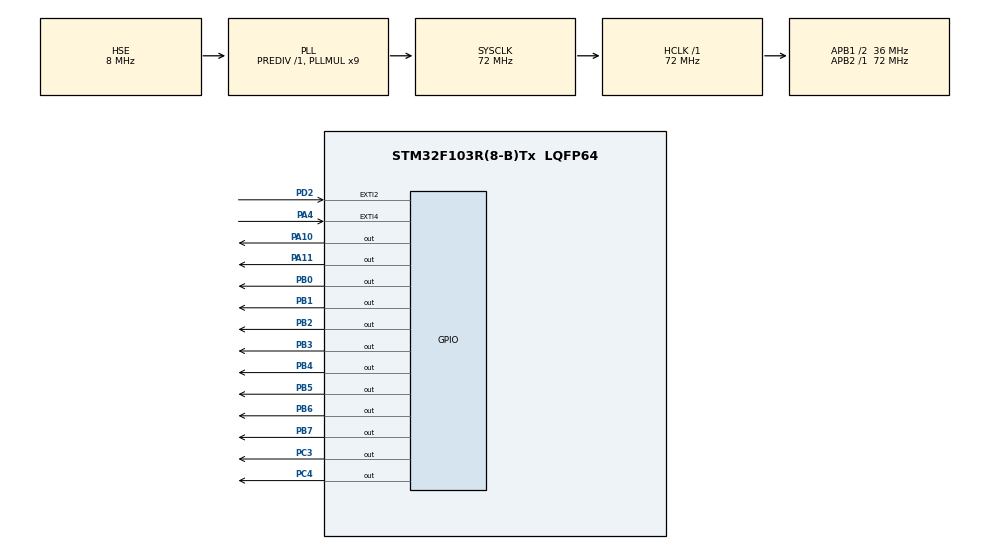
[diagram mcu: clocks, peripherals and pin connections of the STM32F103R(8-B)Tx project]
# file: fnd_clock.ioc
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Mcu.Family=STM32F1
Mcu.Name=STM32F103R(8-B)Tx
Mcu.Package=LQFP64
NVIC.EXTI2_IRQn=true\:0\:0\:false\:false\:true\:true\:true\:true
NVIC.EXTI4_IRQn=true\:0\:0\:false\:false\:true\:true\:true\:true
NVIC.PriorityGroup=NVIC_PRIORITYGROUP_4
NVIC.RCC_IRQn=true\:0\:0\:false\:false\:true\:true\:false\:true
PA10.Signal=GPIO_Output
PA11.Signal=GPIO_Output
PA13.Mode=Serial_Wire
PA13.Signal=SYS_JTMS-SWDIO
PA14.Mode=Serial_Wire
PA14.Signal=SYS_JTCK-SWCLK
PA4.GPIO_ModeDefaultEXTI=GPIO_MODE_IT_FALLING
PA4.Signal=GPXTI4
PB0.Signal=GPIO_Output
PB1.Signal=GPIO_Output
PB2.Signal=GPIO_Output
PB3.Signal=GPIO_Output
PB4.Signal=GPIO_Output
PB5.Signal=GPIO_Output
PB6.Signal=GPIO_Output
PB7.Signal=GPIO_Output
PC14-OSC32_IN.Mode=LSE-External-Oscillator
PC14-OSC32_IN.Signal=RCC_OSC32_IN
PC15-OSC32_OUT.Mode=LSE-External-Oscillator
PC15-OSC32_OUT.Signal=RCC_OSC32_OUT
PC3.Signal=GPIO_Output
PC4.Signal=GPIO_Output
PD0-OSC_IN.Mode=HSE-External-Clock-Source
PD0-OSC_IN.Signal=RCC_OSC_IN
PD1-OSC_OUT.Mode=HSE-External-Clock-Source
PD1-OSC_OUT.Signal=RCC_OSC_OUT
PD2.GPIO_ModeDefaultEXTI=GPIO_MODE_IT_FALLING
PD2.Signal=GPXTI2
ProjectManager.HeapSize=0x200
ProjectManager.StackSize=0x400
ProjectManager.TargetToolchain=STM32CubeIDE
RCC.AHBFreq_Value=72000000
RCC.APB1CLKDivider=RCC_HCLK_DIV2
RCC.APB1Freq_Value=36000000
RCC.APB1TimFreq_Value=72000000
RCC.APB2Freq_Value=72000000
RCC.APB2TimFreq_Value=72000000
RCC.HCLKFreq_Value=72000000
RCC.PLLMUL=RCC_PLL_MUL9
RCC.PLLSourceVirtual=RCC_PLLSOURCE_HSE
RCC.SYSCLKFreq_VALUE=72000000
RCC.SYSCLKSource=RCC_SYSCLKSOURCE_PLLCLK
RCC.USBFreq_Value=72000000
board=custom

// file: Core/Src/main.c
/* USER CODE BEGIN Header */
/**
  ******************************************************************************
  * @file           : main.c
  * @brief          : Main program body
  ******************************************************************************
  * @attention
  *
  * Copyright (c) 2023 STMicroelectronics.
  * All rights reserved.
  *
  * This software is licensed under terms that can be found in the LICENSE file
  * in the root directory of this software component.
  * If no LICENSE file comes with this software, it is provided AS-IS.
  *
  ******************************************************************************
  */
/* USER CODE END Header */
#include "main.h"

/* USER CODE BEGIN PV */
uint8_t number[] = {0x3f, 0x06, 0x5b, 0x4f, 0x66,0x6d, 0x7d, 0x07, 0x7f, 0x67};
uint32_t cur_tick = 0, pre_tick = 0;
uint32_t h = 23;
uint8_t m = 59;
/* USER CODE END PV */

void SystemClock_Config(void);
static void MX_GPIO_Init(void);

/* USER CODE BEGIN 0 */
typedef struct fnd { 	// 구조체
  GPIO_TypeDef *port;
  uint16_t pin;
} FND;
FND value[8] = {
  {GPIOB, GPIO_PIN_0}, {GPIOB, GPIO_PIN_1},
  {GPIOB, GPIO_PIN_2}, {GPIOB, GPIO_PIN_3},
  {GPIOB, GPIO_PIN_4}, {GPIOB, GPIO_PIN_5},
  {GPIOB, GPIO_PIN_6}, {GPIOB, GPIO_PIN_7}
};
FND sel[4] = {
  {GPIOA, GPIO_PIN_10}, {GPIOA, GPIO_PIN_11},
  {GPIOC, GPIO_PIN_4}, {GPIOC, GPIO_PIN_3}
};
void display_fnd(uint8_t data, uint8_t position, uint32_t time) {  // 함수
  int i;
  for (i = 0; i < 4; i++) {
    if(i == position)
      HAL_GPIO_WritePin(sel[i].port, sel[i].pin, 1);
    else
      HAL_GPIO_WritePin(sel[i].port, sel[i].pin, 0);
  }
  for(i = 0; i < 8; i++) {
    if((data & (1 << i)) != 0)
      HAL_GPIO_WritePin(value[i].port, value[i].pin, 1);
    else
      HAL_GPIO_WritePin(value[i].port, value[i].pin, 0);
  }
  HAL_Delay(time);
}

/* USER CODE END 0 */

int main(void)
{
  /* USER CODE BEGIN 1 */
	int a;
	int b;
	int c;
	int d;
  /* USER CODE END 1 */

  /* MCU Configuration--------------------------------------------------------*/

  /* Reset of all peripherals, Initializes the Flash interface and the Systick. */
  HAL_Init();

  /* Configure the system clock */
  SystemClock_Config();

  /* Initialize all configured peripherals */
  MX_GPIO_Init();

  /* Infinite loop */
  /* USER CODE BEGIN WHILE */
  while (1)
  {
	  cur_tick = HAL_GetTick();
	  	  if(cur_tick - pre_tick >= 1000){
	  		  pre_tick = cur_tick;
	  		  if(m == 0){
	  			  if(h != 0){
	  				  h--;
	  				  m = 59;
	  			  }
	  		  }else{
	  			  m--;
	  		  }
	  		  if(h == 0){
	  			  h = 23;
	  		  }
	  	  }
	  	  a = m/10;
	  	  b = m%10;
	  	  c = h/10;
	  	  d = h%10;
	  	  display_fnd(number[c], 3, 5);
	  	  display_fnd(number[d]|0x80, 2, 5);
	  	  display_fnd(number[a], 1, 5);
	  	  display_fnd(number[b], 0, 5);
    /* USER CODE END WHILE */

  }
}

void SystemClock_Config(void)
{
  RCC_OscInitTypeDef RCC_OscInitStruct = {0};
  RCC_ClkInitTypeDef RCC_ClkInitStruct = {0};

  /** Initializes the RCC Oscillators according to the specified parameters
  * in the RCC_OscInitTypeDef structure.
  */
  RCC_OscInitStruct.OscillatorType = RCC_OSCILLATORTYPE_HSE;
  RCC_OscInitStruct.HSEState = RCC_HSE_BYPASS;
  RCC_OscInitStruct.HSEPredivValue = RCC_HSE_PREDIV_DIV1;
  RCC_OscInitStruct.HSIState = RCC_HSI_ON;
  RCC_OscInitStruct.PLL.PLLState = RCC_PLL_ON;
  RCC_OscInitStruct.PLL.PLLSource = RCC_PLLSOURCE_HSE;
  RCC_OscInitStruct.PLL.PLLMUL = RCC_PLL_MUL9;
  if (HAL_RCC_OscConfig(&RCC_OscInitStruct) != HAL_OK)
  {
    Error_Handler();
  }

  /** Initializes the CPU, AHB and APB buses clocks
  */
  RCC_ClkInitStruct.ClockType = RCC_CLOCKTYPE_HCLK|RCC_CLOCKTYPE_SYSCLK
                              |RCC_CLOCKTYPE_PCLK1|RCC_CLOCKTYPE_PCLK2;
  RCC_ClkInitStruct.SYSCLKSource = RCC_SYSCLKSOURCE_PLLCLK;
  RCC_ClkInitStruct.AHBCLKDivider = RCC_SYSCLK_DIV1;
  RCC_ClkInitStruct.APB1CLKDivider = RCC_HCLK_DIV2;
  RCC_ClkInitStruct.APB2CLKDivider = RCC_HCLK_DIV1;

  if (HAL_RCC_ClockConfig(&RCC_ClkInitStruct, FLASH_LATENCY_2) != HAL_OK)
  {
    Error_Handler();
  }
}

static void MX_GPIO_Init(void)
{
  GPIO_InitTypeDef GPIO_InitStruct = {0};

  /* GPIO Ports Clock Enable */
  __HAL_RCC_GPIOC_CLK_ENABLE();
  __HAL_RCC_GPIOD_CLK_ENABLE();
  __HAL_RCC_GPIOA_CLK_ENABLE();
  __HAL_RCC_GPIOB_CLK_ENABLE();

  /*Configure GPIO pin Output Level */
  HAL_GPIO_WritePin(GPIOC, GPIO_PIN_3|GPIO_PIN_4, GPIO_PIN_RESET);

  /*Configure GPIO pin Output Level */
  HAL_GPIO_WritePin(GPIOB, GPIO_PIN_0|GPIO_PIN_1|GPIO_PIN_2|GPIO_PIN_3
                          |GPIO_PIN_4|GPIO_PIN_5|GPIO_PIN_6|GPIO_PIN_7, GPIO_PIN_RESET);

  /*Configure GPIO pin Output Level */
  HAL_GPIO_WritePin(GPIOA, GPIO_PIN_10|GPIO_PIN_11, GPIO_PIN_RESET);

  /*Configure GPIO pins : PC3 PC4 */
  GPIO_InitStruct.Pin = GPIO_PIN_3|GPIO_PIN_4;
  GPIO_InitStruct.Mode = GPIO_MODE_OUTPUT_PP;
  GPIO_InitStruct.Pull = GPIO_NOPULL;
  GPIO_InitStruct.Speed = GPIO_SPEED_FREQ_LOW;
  HAL_GPIO_Init(GPIOC, &GPIO_InitStruct);

  /*Configure GPIO pin : PA4 */
  GPIO_InitStruct.Pin = GPIO_PIN_4;
  GPIO_InitStruct.Mode = GPIO_MODE_IT_FALLING;
  GPIO_InitStruct.Pull = GPIO_NOPULL;
  HAL_GPIO_Init(GPIOA, &GPIO_InitStruct);

  /*Configure GPIO pins : PB0 PB1 PB2 PB3
                           PB4 PB5 PB6 PB7 */
  GPIO_InitStruct.Pin = GPIO_PIN_0|GPIO_PIN_1|GPIO_PIN_2|GPIO_PIN_3
                          |GPIO_PIN_4|GPIO_PIN_5|GPIO_PIN_6|GPIO_PIN_7;
  GPIO_InitStruct.Mode = GPIO_MODE_OUTPUT_PP;
  GPIO_InitStruct.Pull = GPIO_NOPULL;
  GPIO_InitStruct.Speed = GPIO_SPEED_FREQ_LOW;
  HAL_GPIO_Init(GPIOB, &GPIO_InitStruct);

  /*Configure GPIO pins : PA10 PA11 */
  GPIO_InitStruct.Pin = GPIO_PIN_10|GPIO_PIN_11;
  GPIO_InitStruct.Mode = GPIO_MODE_OUTPUT_PP;
  GPIO_InitStruct.Pull = GPIO_NOPULL;
  GPIO_InitStruct.Speed = GPIO_SPEED_FREQ_LOW;
  HAL_GPIO_Init(GPIOA, &GPIO_InitStruct);

  /*Configure GPIO pin : PD2 */
  GPIO_InitStruct.Pin = GPIO_PIN_2;
  GPIO_InitStruct.Mode = GPIO_MODE_IT_FALLING;
  GPIO_InitStruct.Pull = GPIO_NOPULL;
  HAL_GPIO_Init(GPIOD, &GPIO_InitStruct);

  /* EXTI interrupt init*/
  HAL_NVIC_SetPriority(EXTI2_IRQn, 0, 0);
  HAL_NVIC_EnableIRQ(EXTI2_IRQn);

  HAL_NVIC_SetPriority(EXTI4_IRQn, 0, 0);
  HAL_NVIC_EnableIRQ(EXTI4_IRQn);

}

/* USER CODE BEGIN 4 */
void HAL_GPIO_EXTI_Callback(uint16_t GPIO_Pin){
	if(!HAL_GPIO_ReadPin(GPIOA, GPIO_PIN_4)){
		if(h == 0){
			h = 23;
		}else{
			h = h-1;
		}
	}
	if(!HAL_GPIO_ReadPin(GPIOD, GPIO_PIN_2)){
		if(m == 0){
			m = 56;
		}else{
			m = m-1;
		}
	}
}
/* USER CODE END 4 */

void Error_Handler(void)
{
  __disable_irq();
  while (1)
  {
  }
}
